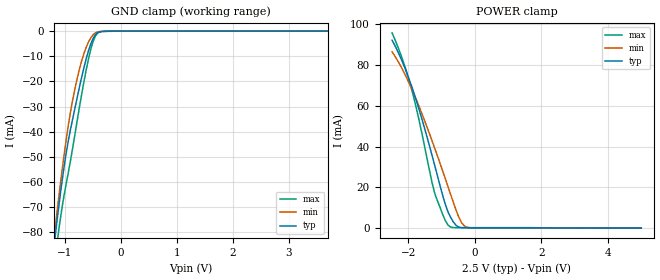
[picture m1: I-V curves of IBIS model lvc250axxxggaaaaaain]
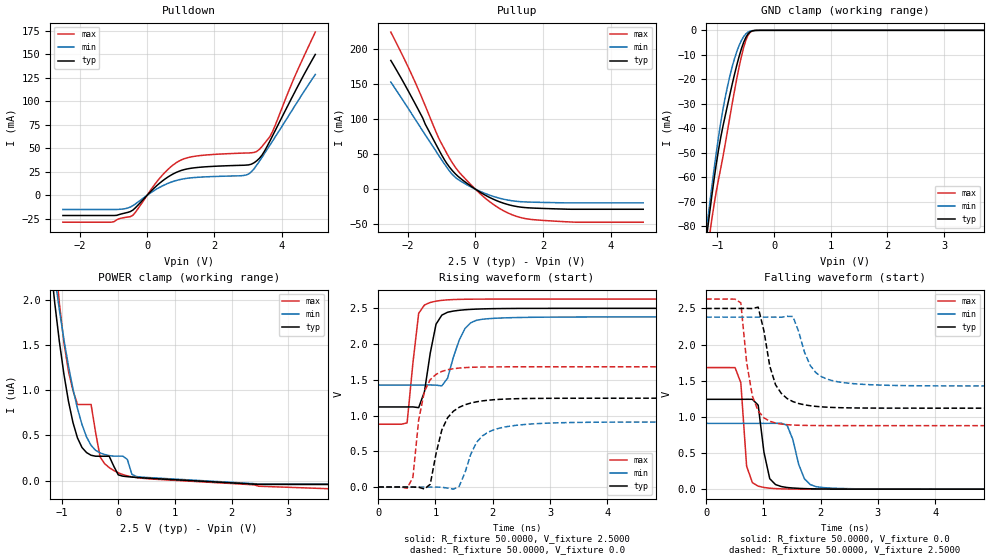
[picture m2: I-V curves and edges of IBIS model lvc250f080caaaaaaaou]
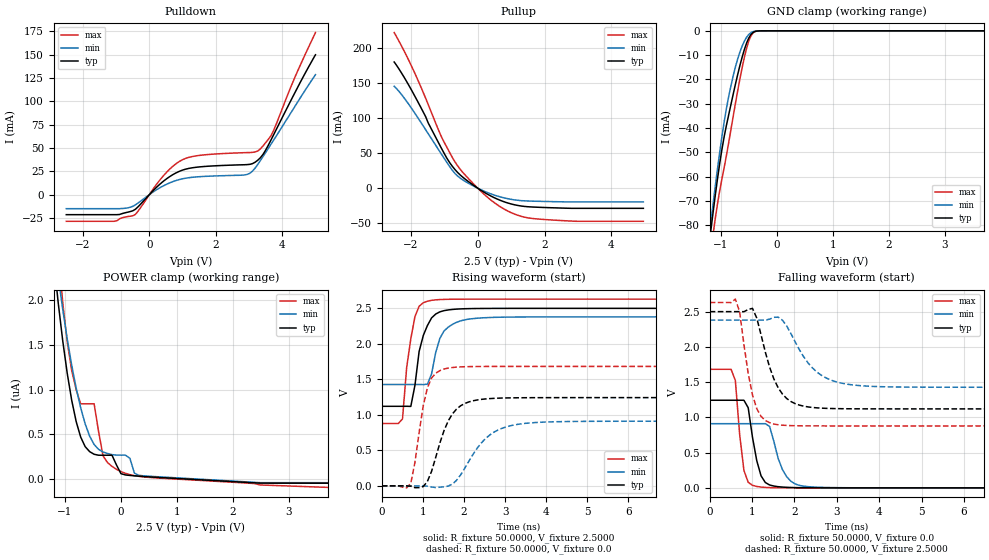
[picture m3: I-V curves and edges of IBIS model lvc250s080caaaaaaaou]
| IBIS Models Generator: Lattice Diamond (64-bit) 3.14.0.75.2
| Generate date: Tue Oct 29 21:10:10 2024
| IBIS File LibisMaker.ibs
| LibisGen v2.0.1.0, 02/25/2008, Lattice Semiconductor Corporation
| Modified by LibisMaker v2.0.1.0, 02/25/2008, Lattice Semiconductor
| North Carolina State University, ERL, 2006
[IBIS ver]   3.2
[File Name]   testNCO_impl1.ibs
[File Rev]   3.6
[Date]   Thu Aug  3 04:51:03 PDT 2023
[Source]   Lattice Semiconductor cs200fl Process
   LCMXO2-7000HE   FINAL
   Lattice Semiconductor has worked hard to ensure the
   models below are accurate and complete.  However, the
   data below was generated using simulation of the
   input/output model files for the silicon.  Therefore,
   the data below is for reference and initial design
   purposes only.
   Lattice Semiconductor grants permission to use this
   data for use in printed circuit design using this
   Lattice programmable logic device.  Other use of this
   code, including the selling or duplication of any
   portion is strictly prohibited.
|   NAMING CONVENTION
   The IBIS [Model] header is limited by the specification to a
   total of characters.  With such a set of characters available
   for naming models it becomes important to attempt to
   meaningfully encode the IO standards so they fit within the
   twenty character limit.  It would seem that twenty characters
   would provide room enough for describing IO's.  However, the
   PLD IO structure continues to grow more and more complex.  The
   complexity is making the twenty characters insuffiently
   descriptive.  In order to overcome this issue the naming
   convention described below is implemented to resolve the issue.
The twenty character space is managed as follows:
   bbbvvvsdddprugtcoixx
   b = standard
   v = voltage (x.xx V)
   s = slew code
   d = drive (xx.x ma)
   p = pullup code
   r = series resistance  or bank_vccio code
   u = terminate to vcc code
   g = terminate to gnd code
   t = terminate to vtt code
   c = common mode termination mode
   o = diff resistor code
   i = diff resistor current code
   x = reserved
   standard
   lvcmos   lvc
   lvcmosd   lvd
   lvcmosr   lvr
   lvds25e   lve
   lvttl   lvt
   lvttld   ltd
   pci   pci
   sstl_I   ss1
   sstl_II   ss2
   sstld_I   s1d
   sstld_II   s2d
   hstl_i   hs1
   hstl_ii   hs2
   hstld_i   h1d
   hstld_ii   h2d
   lvds25   lvs
   blvds25   blv
   blvds25e   blv
   mlvds25   mlv
   mlvds25e   mlv
   lvpecl33   lvp
   lvpecl33e   lvp
   rsds25   rsd
   rsds25e   rse
   mipi   mip
   mipi_lp   mip
   vref1   vr1
   vref2   vr2
   ref_res   rer
   slew
   na   a
   fast   f
   slow   s
   pullmode
   off   a
   pullup   b
   pulldown   c
   bushold   d
   clamp   e
   up_clamp   f
   down_clamp   g
   keeper_clamp   h
   impedance or Bank_vccio
   off   a
   25   b
   33   c
   50   d
   100   e
   3.3   f
   2.5   g
   1.8   h
   1.5   i
   1.2   j
   termVCC
   off   a
   50   b
   100   c
   120   d
   termGND
   off   a
   50   b
   100   c
   120   d
   termVTT
   off   a
   60   b
   75   c
   120   d
   150   e
   210   f
   VCMT
   off   a
   VCMT   b
   VTT   c
   DDR-2   d
   differential resistor
   off   a
   100   b
   diff drive
   NA   a
   2.0   b
   3.5   c
   1.25   f
   2.5   g
   Reserved   IO type
   in   input only
   ou   output
   io   I/O
   od   Open drain
   on   Inverting differential I/O
   (signal name only)
   op   Non-Inverting differential I/O
   (signal name only)
   Lattice Semiconductor Corporation
   5555 NE Moore Court
   Hillsboro, OR 97214
   U.S.A
   TEL: 1-800-Lattice (USA and Canada)
   408-826-6000 (other locations)
   web: http://www.latticesemi.com/
   email: techsupport@latticesemi.com
[Disclaimer] This IBIS source code is intended as a design reference
   which illustrates how the Lattice Semiconductor device operates.
   It is the user's responsibility to verify their design for
   consistency and functionality through the use of formal
   verification methods.  Lattice Semiconductor provides no warranty
   regarding the use or functionality of this data.
[Copyright]   Copyright 2007 by Lattice Semiconductor Corporation
|   Component XO2
[Component]   XO2
[Manufacturer]   Lattice Semiconductor Corp.
[Package]
|TQFP144
| variable   typ   min   max
R_pkg   159.8m   143.8m   177.3m
L_pkg   7.50nH   6.34nH   8.65nH
C_pkg   1.22pF   1.06pF   1.38pF
[Pin] signal_name   model_name   R_pin   L_pin   C_pin
21   LOSine[0]   lvc250s080caaaaaaaou
24   LOSine[1]   lvc250s080caaaaaaaou
19   LOSine[2]   lvc250s080caaaaaaaou
20   LOSine[3]   lvc250s080caaaaaaaou
26   LOSine[4]   lvc250s080caaaaaaaou
22   LOSine[5]   lvc250s080caaaaaaaou
142   LOSine[6]   lvc250s080caaaaaaaou
143   LOSine[7]   lvc250f080caaaaaaaou
23   LOSine[8]   lvc250f080caaaaaaaou
25   LOSine[9]   lvc250f080caaaaaaaou
97   MYLED[0]   lvc250s080caaaaaaaou
98   MYLED[1]   lvc250s080caaaaaaaou
99   MYLED[2]   lvc250s080caaaaaaaou
100   MYLED[3]   lvc250s080caaaaaaaou
104   MYLED[4]   lvc250s080caaaaaaaou
105   MYLED[5]   lvc250s080caaaaaaaou
106   MYLED[6]   lvc250s080caaaaaaaou
107   MYLED[7]   lvc250s080caaaaaaaou
44   TX   lvc330f080caaaaaaaou
42   TX_NCO   lvc330f080caaaaaaaou
3   XIn   lvc250axxxggaaaaaain
87   clk_adc   lvc250f080caaaaaaaou
| Models and submodels in the file (4): lvc250axxxggaaaaaain (Input), lvc250f080caaaaaaaou (Output), lvc250s080caaaaaaaou (Output), lvc330f080caaaaaaaou (Output)
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[Model]   lvc250axxxggaaaaaain
Model_type   Input
Polarity   Non-Inverting
Enable   Active-Low
Vinl =   0.7000V
Vinh =   1.7000V
C_comp   4.2000pF   3.8000pF   7.5000pF
[Temperature Range]   25.0000   0.1250k   -40.0000
[Voltage Range]   2.5000V   2.3800V   2.6300V
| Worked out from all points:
|   GND clamp passes 1 mA (typ) near -0.44 V on its own axis
|   POWER clamp passes 1 mA (typ) near -0.53 V on its own axis
[GND_clamp]
|Voltage   I(typ)   I(min)   I(max)
-2.5V     -564.7mA   -543.1mA   -585.2mA
-1.18V    -82.37mA   -79.05mA   -91.19mA
-1.14V    -74.91mA   -71.4mA    -84.01mA
-1.1V     -67.72mA   -63.96mA   -77.3mA
-980mV    -48.69mA   -43.39mA   -60.85mA
-820mV    -30.38mA   -22.68mA   -40.71mA
-620mV    -10.92mA   -6.374mA   -15.3mA
-540mV    -5.123mA   -2.7mA     -7.317mA
-460mV    -1.524mA   -767.4uA   -2.097mA
-380mV    -292.5uA   -172.6uA   -366.3uA
20mV      0A         0A         0A
5V        0A         0A         0A
[POWER_clamp]
|Voltage   I(typ)   I(min)   I(max)
-2.48V    92.22mA    86.5mA     95.83mA
-2.16V    81.19mA    77.59mA    82.43mA
-1.84V    67mA       66.38mA    64.75mA
-1.52V    49.86mA    53.4mA     41.33mA
-1.28V    35.63mA    42.81mA    22.28mA
-1.2V     30.7mA     39.17mA    17mA
-960mV    15.93mA    27.93mA    6.582mA
-800mV    7.851mA    20.23mA    1.424mA
-560mV    1.299mA    8.796mA    199.2uA
-400mV    169.6uA    2.771mA    193.9uA
-160mV    101.6uA    144.1uA    192.3uA
5V        -4.578uA   -1.793uA   -63.13uA
[Model]   lvc250f080caaaaaaaou
Model_type   Output
Polarity   Non-Inverting
Enable   Active-Low
Vmeas =   1.2500V
Cref =   0.0F
Rref =   1.0000M
Vref =   0.0V
C_comp   4.2000pF   3.8000pF   7.5000pF
[Temperature Range]   25.0000   0.1250k   -40.0000
[Voltage Range]   2.5000V   2.3800V   2.6300V
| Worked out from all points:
|   slope of the pulldown table from 0 to 0.375 V, typ, clamps not added: 28.8 ohm
|   slope of the pullup table from 0 to 0.375 V, typ, clamps not added: 35 ohm
|   GND clamp passes 1 mA (typ) near -0.44 V on its own axis
|   rising waveform, R_fixture 50.0000, V_fixture 2.5000: 20-80 % time 177ps typ, 254ps min, 140ps max; typ from 1.12 V to 2.5 V
|   rising waveform, R_fixture 50.0000, V_fixture 0.0: 20-80 % time 281ps typ, 339ps min, 180ps max; typ from 0 V to 1.24 V
|   falling waveform, R_fixture 50.0000, V_fixture 0.0: 20-80 % time 147ps typ, 204ps min, 88.3ps max; typ from 1.24 V to 0 V
|   falling waveform, R_fixture 50.0000, V_fixture 2.5000: 20-80 % time 254ps typ, 299ps min, 194ps max; typ from 2.5 V to 1.12 V
[Pulldown]
|Voltage   I(typ)   I(min)   I(max)
-2.5V     -21.43mA   -15mA      -28.53mA
-1.06V    -21.43mA   -15mA      -28.53mA
-500mV    -17.29mA   -12.49mA   -22.68mA
-340mV    -13.01mA   -8.939mA   -17.7mA
460mV     15.44mA    10.15mA    21.72mA
1.1V      27.41mA    17.71mA    38.96mA
2.94V     32.22mA    21.64mA    45.09mA
3.26V     36.81mA    32.22mA    46.78mA
3.42V     43.03mA    40.73mA    52.13mA
3.74V     64.12mA    58.4mA     68.73mA
4.38V     109.2mA    94.57mA    125.7mA
5V        150mA      128.7mA    173.8mA
[Pullup]
|Voltage   I(typ)   I(min)   I(max)
-2.5V     183.8mA    153mA      224.3mA
-1.8V     123.7mA    101.4mA    154.8mA
-1.08V    56.2mA     47.99mA    72.47mA
-760mV    31.15mA    25.49mA    43.78mA
-600mV    22.27mA    17.17mA    31.72mA
-440mV    15.37mA    11.59mA    22.04mA
40mV      -1.275mA   -931.8uA   -1.898mA
440mV     -12.3mA    -8.882mA   -18.58mA
1V        -22.45mA   -15.89mA   -34.81mA
1.56V     -26.61mA   -18.37mA   -42.65mA
2.92V     -28.69mA   -19.55mA   -47.08mA
4.96V     -28.69mA   -19.55mA   -47.14mA
[GND_clamp]
|Voltage   I(typ)   I(min)   I(max)
-2.5V     -564.7mA   -543.1mA   -585.2mA
-1.18V    -82.35mA   -79.03mA   -91.15mA
-1.14V    -74.88mA   -71.38mA   -83.96mA
-1.1V     -67.69mA   -63.94mA   -77.25mA
-980mV    -48.66mA   -43.36mA   -60.79mA
-820mV    -30.34mA   -22.65mA   -40.66mA
-700mV    -18.09mA   -11.63mA   -24.79mA
-620mV    -10.87mA   -6.335mA   -15.23mA
-540mV    -5.061mA   -2.654mA   -7.227mA
-460mV    -1.446mA   -714.8uA   -1.98mA
-300mV    -18.71uA   -15.93uA   -16.53uA
5V        0A         0A         0A
[POWER_clamp]
|Voltage   I(typ)   I(min)   I(max)
-2.48V    16.67uA    13.46uA    27.27uA
-1.2V     2.435uA    2.651uA    3.191uA
-1.12V    1.959uA    2.254uA    2.522uA
-1.04V    1.541uA    1.891uA    1.967uA
-880mV    880.7nA    1.272uA    1.212uA
-720mV    472.2nA    798.5nA    842.6nA
-480mV    280.5nA    389.6nA    842.6nA
-320mV    269.7nA    306.1nA    260.6nA
-160mV    269.7nA    276.4nA    144nA
0V        63.22nA    270.6nA    86.34nA
400mV     31.61nA    39.07nA    27.38nA
5V        -44.09nA   -38.33nA   -118.7nA
[Ramp]
| variable   typ   min   max
dV/dt_r  0.7610/0.2778n   0.5462/0.3354n   1.0094/0.1786n
dV/dt_f  0.8277/0.2512n   0.5716/0.2962n   1.0508/0.1921n
R_load = 50.0000
[Rising Waveform]
R_fixture=   50.0000
V_fixture=   2.5000
V_fixture_min=   2.3800
V_fixture_max=   2.6300
|time   V(typ)   V(min)   V(max)
0s        1.121V     1.427V     878.6mV
505.1ps   1.121V     1.427V     897.8mV
606.1ps   1.121V     1.427V     1.734V
707.1ps   1.111V     1.427V     2.431V
808.1ps   1.335V     1.427V     2.547V
1.01ns    2.278V     1.425V     2.601V
1.212ns   2.446V     1.524V     2.619V
1.515ns   2.481V     2.217V     2.627V
1.818ns   2.492V     2.347V     2.629V
10ns      2.5V       2.38V      2.63V
[Rising Waveform]
R_fixture=   50.0000
V_fixture=   0.0
V_fixture_min=   0.0
V_fixture_max=   0.0
|time   V(typ)   V(min)   V(max)
0s        666.9nV    899.8nV    549.6nV
505.1ps   22.6uV     1.285uV    -17.11mV
606.1ps   -46.33uV   988.8nV    136.4mV
707.1ps   -3.152mV   8.393uV    939.9mV
808.1ps   -27.71mV   22.98uV    1.34V
1.212ns   969.8mV    -14.56mV   1.641V
1.414ns   1.115V     9.244mV    1.665V
1.818ns   1.205V     714.8mV    1.679V
2.323ns   1.234V     854.8mV    1.682V
10ns      1.243V     910.3mV    1.682V
[Falling Waveform]
R_fixture=   50.0000
V_fixture=   0.0
V_fixture_min=   0.0
V_fixture_max=   0.0
|time   V(typ)   V(min)   V(max)
0s        1.243V     910.4mV    1.682V
505.1ps   1.243V     910.4mV    1.682V
606.1ps   1.243V     910.4mV    1.473V
707.1ps   1.244V     910.4mV    319.2mV
909.1ps   1.163V     910.3mV    41.68mV
1.01ns    510.6mV    910.3mV    23.4mV
1.212ns   63.63mV    910.5mV    7.931mV
1.717ns   7.747mV    142.5mV    532.8uV
2.02ns    2.628mV    23.7mV     163.4uV
10ns      -3.158uV   12.07uV    18.67uV
[Falling Waveform]
R_fixture=   50.0000
V_fixture=   2.5000
V_fixture_min=   2.3800
V_fixture_max=   2.6300
|time   V(typ)   V(min)   V(max)
0s        2.5V       2.38V      2.63V
606.1ps   2.5V       2.38V      2.577V
707.1ps   2.501V     2.38V      1.757V
808.1ps   2.498V     2.38V      1.287V
909.1ps   2.519V     2.38V      1.083V
1.212ns   1.445V     2.381V     914.9mV
1.515ns   1.212V     2.389V     887.1mV
1.919ns   1.145V     1.61V      880mV
2.424ns   1.126V     1.472V     878.8mV
10ns      1.121V     1.427V     878.6mV
[Model]   lvc250s080caaaaaaaou
Model_type   Output
Polarity   Non-Inverting
Enable   Active-Low
Vmeas =   1.2500V
Cref =   0.0F
Rref =   1.0000M
Vref =   0.0V
C_comp   4.2000pF   3.8000pF   7.5000pF
[Temperature Range]   25.0000   0.1250k   -40.0000
[Voltage Range]   2.5000V   2.3800V   2.6300V
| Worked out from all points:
|   slope of the pulldown table from 0 to 0.375 V, typ, clamps not added: 28.8 ohm
|   slope of the pullup table from 0 to 0.375 V, typ, clamps not added: 35 ohm
|   GND clamp passes 1 mA (typ) near -0.44 V on its own axis
|   rising waveform, R_fixture 50.0000, V_fixture 2.5000: 20-80 % time 286ps typ, 305ps min, 229ps max; typ from 1.12 V to 2.5 V
|   rising waveform, R_fixture 50.0000, V_fixture 0.0: 20-80 % time 465ps typ, 709ps min, 287ps max; typ from 0 V to 1.24 V
|   falling waveform, R_fixture 50.0000, V_fixture 0.0: 20-80 % time 232ps typ, 311ps min, 161ps max; typ from 1.24 V to 0 V
|   falling waveform, R_fixture 50.0000, V_fixture 2.5000: 20-80 % time 453ps typ, 672ps min, 302ps max; typ from 2.5 V to 1.12 V
[Pulldown]
|Voltage   I(typ)   I(min)   I(max)
-2.5V     -21.43mA   -15mA      -28.53mA
-1.06V    -21.43mA   -15mA      -28.53mA
-500mV    -17.29mA   -12.49mA   -22.68mA
-340mV    -13.01mA   -8.939mA   -17.7mA
460mV     15.44mA    10.15mA    21.72mA
1.1V      27.41mA    17.71mA    38.96mA
2.94V     32.22mA    21.64mA    45.09mA
3.26V     36.81mA    32.22mA    46.78mA
3.42V     43.03mA    40.73mA    52.13mA
3.74V     64.12mA    58.39mA    68.73mA
4.38V     109.2mA    94.54mA    125.7mA
5V        149.9mA    128.6mA    173.7mA
[Pullup]
|Voltage   I(typ)   I(min)   I(max)
-2.5V     179.5mA    144.9mA    221.4mA
-1.96V    137.7mA    112.2mA    171.5mA
-1.64V    109.2mA    89.19mA    137.2mA
-1.08V    56.2mA     47.99mA    72.47mA
-760mV    31.15mA    25.49mA    43.78mA
-440mV    15.37mA    11.59mA    22.04mA
40mV      -1.275mA   -931.8uA   -1.898mA
440mV     -12.3mA    -8.882mA   -18.58mA
1V        -22.45mA   -15.89mA   -34.81mA
1.56V     -26.61mA   -18.37mA   -42.65mA
2.92V     -28.69mA   -19.55mA   -47.08mA
4.96V     -28.69mA   -19.55mA   -47.14mA
[GND_clamp]
|Voltage   I(typ)   I(min)   I(max)
-2.5V     -564.7mA   -543.1mA   -585.2mA
-1.18V    -82.35mA   -79.03mA   -91.15mA
-1.14V    -74.88mA   -71.38mA   -83.96mA
-1.1V     -67.69mA   -63.94mA   -77.25mA
-980mV    -48.66mA   -43.36mA   -60.79mA
-820mV    -30.34mA   -22.65mA   -40.66mA
-700mV    -18.09mA   -11.63mA   -24.79mA
-620mV    -10.87mA   -6.335mA   -15.23mA
-540mV    -5.061mA   -2.654mA   -7.227mA
-460mV    -1.446mA   -714.8uA   -1.98mA
-300mV    -18.71uA   -15.93uA   -16.53uA
5V        0A         0A         0A
[POWER_clamp]
|Voltage   I(typ)   I(min)   I(max)
-2.48V    16.67uA    13.45uA    27.27uA
-1.2V     2.433uA    2.65uA     3.19uA
-1.12V    1.958uA    2.252uA    2.52uA
-1.04V    1.539uA    1.89uA     1.965uA
-880mV    879.3nA    1.27uA     1.211uA
-720mV    470.9nA    797.2nA    841.4nA
-480mV    279.3nA    388.4nA    841.4nA
-320mV    268.6nA    305nA      260.6nA
-160mV    268.6nA    275.3nA    144nA
0V        63.22nA    269.5nA    86.34nA
400mV     31.61nA    39.07nA    27.38nA
5V        -44.09nA   -38.33nA   -118.7nA
[Ramp]
| variable   typ   min   max
dV/dt_r  0.7610/0.4599n   0.5462/0.7020n   1.0094/0.2844n
dV/dt_f  0.8277/0.4481n   0.5716/0.6654n   1.0508/0.2990n
R_load = 50.0000
[Rising Waveform]
R_fixture=   50.0000
V_fixture=   2.5000
V_fixture_min=   2.3800
V_fixture_max=   2.6300
|time   V(typ)   V(min)   V(max)
0s        1.121V     1.427V     878.6mV
505.1ps   1.121V     1.427V     943.1mV
606.1ps   1.121V     1.427V     1.667V
707.1ps   1.119V     1.427V     2.071V
808.1ps   1.418V     1.427V     2.386V
909.1ps   1.892V     1.428V     2.53V
1.111ns   2.259V     1.432V     2.601V
1.515ns   2.468V     2.181V     2.626V
2.02ns    2.495V     2.339V     2.63V
10ns      2.5V       2.38V      2.63V
[Rising Waveform]
R_fixture=   50.0000
V_fixture=   0.0
V_fixture_min=   0.0
V_fixture_max=   0.0
|time   V(typ)   V(min)   V(max)
0s        666.9nV    899.8nV    549.6nV
707.1ps   -4.283mV   7.467uV    38.42mV
1.01ns    -9.285mV   -453.2uV   1.131V
1.111ns   62.83mV    -4.528mV   1.383V
1.515ns   778.6mV    -12.88mV   1.646V
1.717ns   1.012V     24.61mV    1.667V
2.02ns    1.16V      249.2mV    1.678V
2.525ns   1.224V     666.6mV    1.682V
3.232ns   1.24V      859.1mV    1.682V
10ns      1.243V     910.3mV    1.682V
[Falling Waveform]
R_fixture=   50.0000
V_fixture=   0.0
V_fixture_min=   0.0
V_fixture_max=   0.0
|time   V(typ)   V(min)   V(max)
0s        1.243V     910.3mV    1.682V
505.1ps   1.243V     910.3mV    1.682V
606.1ps   1.243V     910.3mV    1.524V
808.1ps   1.243V     910.4mV    247.8mV
909.1ps   1.137V     910.3mV    78.69mV
1.01ns    717.9mV    910.3mV    36.15mV
1.313ns   75.67mV    910.8mV    6.34mV
1.818ns   7.627mV    156mV      434.4uV
2.222ns   1.73mV     23.34mV    116uV
10ns      5.917uV    -6.372uV   -20.54uV
[Falling Waveform]
R_fixture=   50.0000
V_fixture=   2.5000
V_fixture_min=   2.3800
V_fixture_max=   2.6300
|time   V(typ)   V(min)   V(max)
0s        2.5V       2.38V      2.63V
606.1ps   2.5V       2.38V      2.678V
707.1ps   2.501V     2.38V      2.497V
1.01ns    2.546V     2.38V      1.319V
1.212ns   2.172V     2.381V     1.015V
1.515ns   1.545V     2.42V      905.6mV
2.02ns    1.194V     2.067V     881.4mV
2.525ns   1.135V     1.646V     879mV
3.131ns   1.123V     1.483V     878.7mV
10ns      1.121V     1.427V     878.6mV
